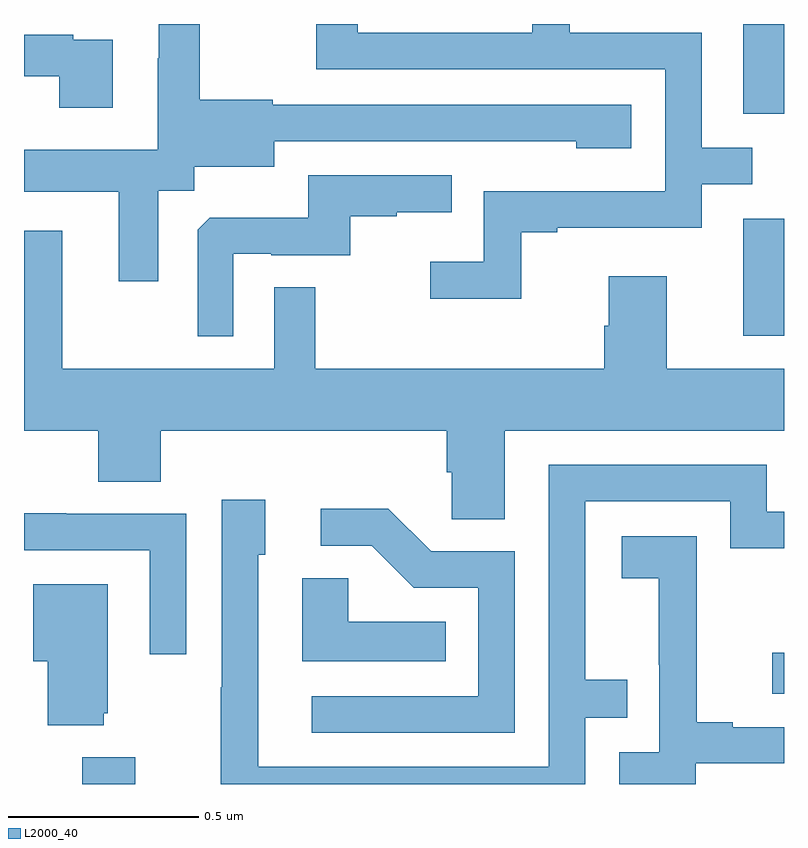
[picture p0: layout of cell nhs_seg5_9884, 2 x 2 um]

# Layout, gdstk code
import gdstk
lib = gdstk.Library(unit=1e-6, precision=1e-09)
def R(c, l, rs):  # rectangles x0, y0, x1, y1
    for r in rs: c.add(gdstk.rectangle(r[:2], r[2:], *l))
def P(c, l, *ps):  # polygons
    for p in ps: c.add(gdstk.Polygon(p, *l))
L2000_40 = (2000, 40)

nhs_seg5_9884 = lib.new_cell('nhs_seg5_9884')
R(nhs_seg5_9884, L2000_40, [(239.153,887.799,239.293,887.869), (240.969,888.036,241,888.145), (240.893,888.978,241,889.287), (240.893,889.563,241,889.799)])
P(nhs_seg5_9884, L2000_40, [(239.353,889.36),(239.448,889.36),(239.448,889.424),(239.659,889.424),(239.659,889.491),(240.217,889.491),(240.217,889.49),(240.453,889.49),(240.453,889.472),(240.598,889.472),(240.598,889.587),(239.655,889.587),(239.655,889.6),(239.463,889.6),(239.463,889.799),(239.354,889.799),(239.354,889.709),(239.352,889.709),(239.352,889.468),(239,889.468),(239,889.358),(239.249,889.358),(239.249,889.122),(239.353,889.122)],
  [(240.309,889.251),(240.403,889.251),(240.403,889.263),(240.783,889.263),(240.783,889.377),(240.917,889.377),(240.917,889.473),(240.783,889.473),(240.783,889.776),(240.436,889.776),(240.436,889.799),(240.338,889.799),(240.338,889.776),(239.878,889.776),(239.878,889.799),(239.769,889.799),(239.769,889.68),(240.687,889.68),(240.687,889.359),(240.21,889.359),(240.21,889.174),(240.069,889.174),(240.069,889.076),(240.309,889.076)],
  [(239.233,889.758),(239.129,889.758),(239.129,889.771),(239,889.771),(239,889.662),(239.093,889.662),(239.093,889.578),(239.233,889.578)],
  [(239.55,889.194),(239.65,889.194),(239.65,889.191),(239.858,889.191),(239.858,889.293),(239.981,889.293),(239.981,889.304),(240.125,889.304),(240.125,889.401),(239.748,889.401),(239.748,889.289),(239.489,889.289),(239.457,889.257),(239.457,888.977),(239.55,888.977)],
  [(240.265,888.728),(241,888.728),(241,888.892),(240.691,888.892),(240.691,889.135),(240.539,889.135),(240.539,889.005),(240.527,889.005),(240.527,888.892),(239.767,888.892),(239.767,889.106),(239.658,889.106),(239.658,888.892),(239.101,888.892),(239.101,889.255),(239,889.255),(239,888.728),(239.195,888.728),(239.195,888.595),(239.36,888.595),(239.36,888.728),(240.113,888.728),(240.113,888.619),(240.126,888.619),(240.126,888.496),(240.265,888.496)],
  [(240.477,887.973),(240.587,887.973),(240.587,888.074),(240.477,888.074),(240.477,888.543),(240.858,888.543),(240.858,888.42),(241,888.42),(241,888.516),(240.955,888.516),(240.955,888.639),(240.381,888.639),(240.381,887.844),(239.616,887.844),(239.616,888.402),(239.635,888.402),(239.635,888.547),(239.52,888.547),(239.52,888.053),(239.518,888.053),(239.518,887.799),(240.477,887.799)],
  [(240.291,888.411),(240.072,888.411),(239.959,888.524),(239.781,888.524),(239.781,888.426),(239.915,888.426),(240.026,888.315),(240.195,888.315),(240.195,888.03),(239.757,888.03),(239.757,887.934),(240.291,887.934)],
  [(239.427,888.51),(239.111,888.51),(239.111,888.512),(239,888.512),(239,888.414),(239.331,888.414),(239.331,888.141),(239.427,888.141)],
  [(240.768,887.853),(241,887.853),(241,887.949),(240.865,887.949),(240.865,887.962),(240.77,887.962),(240.77,888.245),(240.771,888.245),(240.771,888.451),(240.573,888.451),(240.573,888.341),(240.671,888.341),(240.671,888.113),(240.672,888.113),(240.672,887.883),(240.567,887.883),(240.567,887.799),(240.768,887.799)],
  [(240.11,888.226),(239.853,888.226),(239.853,888.341),(239.732,888.341),(239.732,888.122),(240.11,888.122)],
  [(239.21,887.985),(239.221,887.985),(239.221,888.325),(239.024,888.325),(239.024,888.122),(239.063,888.122),(239.063,887.954),(239.21,887.954)])

lib.write_gds('nhs_seg5_9884.gds')
